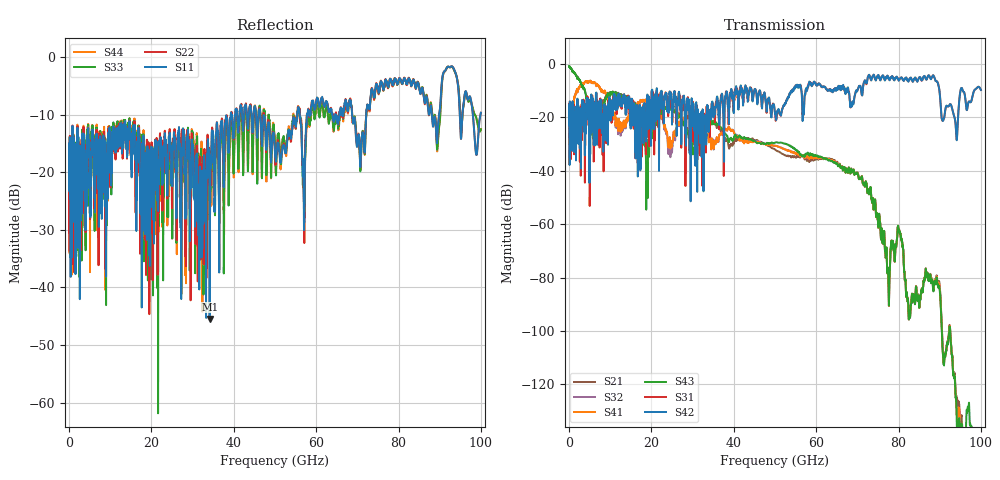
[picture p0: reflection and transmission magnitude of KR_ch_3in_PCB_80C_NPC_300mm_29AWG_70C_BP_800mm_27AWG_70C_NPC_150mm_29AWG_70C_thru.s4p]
# Hz S RI R 45
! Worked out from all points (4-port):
!   4000 points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, 25 MHz to 100 GHz, reference 45 ohm
!   strongest paths, dB at 25 MHz, 25.02 GHz, 50.02 GHz, 75.03 GHz, 100 GHz:
!     S42: -20.7, -20.7, -18.8, -4.2, -9.7
!     S31: -20.7, -17.8, -18.1, -4.4, -9.7
!     S43: -0.8, -16.5, -29.6, -59.4, -150.8
!     S41: -35.7, -30.3, -30.7, -59.4, -157.7
!     S32: -35.7, -32.9, -30.6, -59.4, -157.9
!     S21: -0.9, -16.4, -32.1, -59.5, -168.6
!   lowest |S11| = -45.5 dB at 34.15 GHz (marker M1), VSWR 1.01, Z = 45 + j0.478 ohm
!   |S11| at or under -10 dB: start of sweep to 39.26 GHz; 46.41 GHz to 55.4 GHz (8.983 GHz wide, 17.6 % of centre); 68.72 GHz to 72.15 GHz (3.432 GHz wide, 4.87 % of centre)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
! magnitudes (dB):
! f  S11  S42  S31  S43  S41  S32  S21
! 25 MHz  -16.6  -20.7  -20.7  -0.8  -35.7  -35.7  -0.9
! 3.775 GHz  -18.4  -22.9  -25.4  -9.5  -7.0  -7.0  -9.6
! 18.95 GHz  -19.8  -13.0  -19.4  -39.2  -14.0  -14.2  -25.8
! 34.15 GHz  -45.5  -18.4  -23.6  -21.9  -28.1  -28.8  -21.7
! 69.55 GHz  -12.1  -10.8  -10.6  -41.2  -41.0  -41.0  -40.9
! 77.47 GHz  -5.1  -5.1  -4.7  -78.4  -78.4  -78.4  -78.5
! 100 GHz  -9.7  -9.7  -9.7  -150.8  -157.7  -157.9  -168.6
